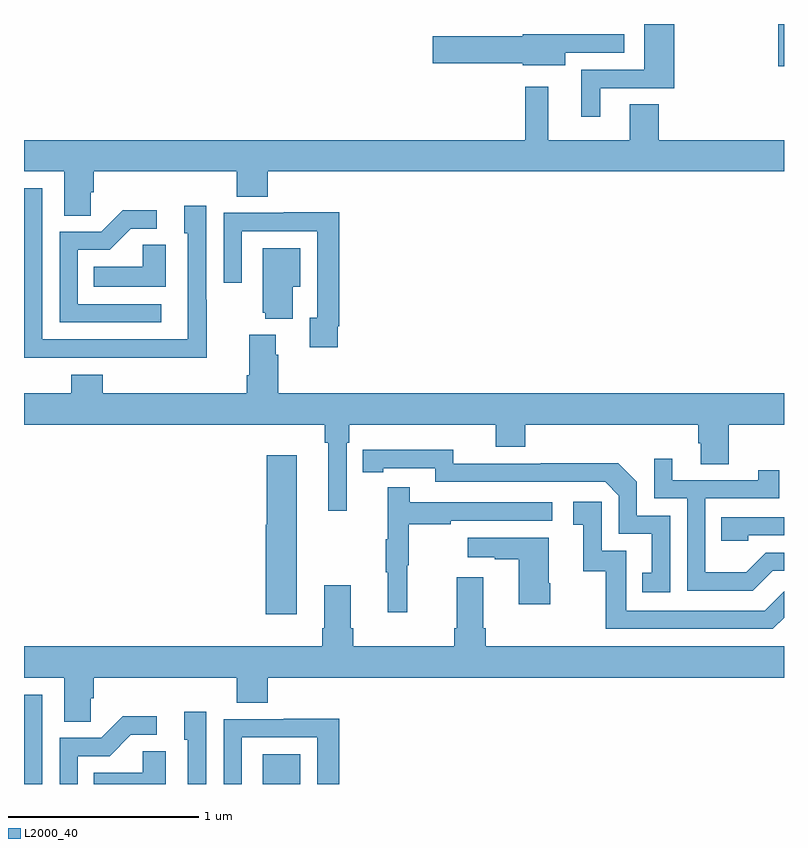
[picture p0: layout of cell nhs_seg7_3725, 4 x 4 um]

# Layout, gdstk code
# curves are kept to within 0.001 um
import gdstk
lib = gdstk.Library(unit=1e-6, precision=1e-09)
def R(c, l, rs):  # rectangles x0, y0, x1, y1
    for r in rs: c.add(gdstk.rectangle(r[:2], r[2:], *l))
def P(c, l, *ps):  # polygons
    for p in ps: c.add(gdstk.Polygon(p, *l))
L2000_40 = (2000, 40)

nhs_seg7_3725 = lib.new_cell('nhs_seg7_3725')
R(nhs_seg7_3725, L2000_40, [(348.257,1056,348.454,1056.157), (350.969,1059.777,351,1060)])
P(nhs_seg7_3725, L2000_40, [(350.032,1059.663),(350.423,1059.663),(350.423,1060),(350.264,1060),(350.264,1059.759),(349.934,1059.759),(349.934,1059.513),(350.032,1059.513)],
  [(349.849,1059.849),(350.158,1059.849),(350.158,1059.945),(349.845,1059.945),(349.845,1059.946),(349.626,1059.946),(349.626,1059.935),(349.152,1059.935),(349.152,1059.793),(349.626,1059.793),(349.626,1059.782),(349.849,1059.782)],
  [(347.352,1059.115),(347.366,1059.115),(347.366,1059.224),(348.119,1059.224),(348.119,1059.091),(348.284,1059.091),(348.284,1059.224),(351,1059.224),(351,1059.388),(350.342,1059.388),(350.342,1059.578),(350.189,1059.578),(350.189,1059.388),(349.759,1059.388),(349.759,1059.67),(349.638,1059.67),(349.638,1059.388),(347,1059.388),(347,1059.224),(347.213,1059.224),(347.213,1058.992),(347.352,1058.992)],
  [(347.961,1058.549),(347.958,1058.549),(347.958,1059.043),(347.843,1059.043),(347.843,1058.898),(347.862,1058.898),(347.862,1058.34),(347.097,1058.34),(347.097,1059.135),(347,1059.135),(347,1059.039),(347.001,1059.039),(347.001,1058.57),(347,1058.57),(347,1058.469),(347.001,1058.469),(347.001,1058.244),(347.497,1058.244),(347.497,1058.243),(347.961,1058.243)],
  [(347.722,1058.526),(347.283,1058.526),(347.283,1058.811),(347.452,1058.811),(347.563,1058.922),(347.698,1058.922),(347.698,1059.02),(347.519,1059.02),(347.406,1058.907),(347.187,1058.907),(347.187,1058.43),(347.722,1058.43)],
  [(348.652,1058.41),(348.659,1058.41),(348.659,1059.008),(348.367,1059.008),(348.367,1059.006),(348.051,1059.006),(348.051,1058.637),(348.147,1058.637),(348.147,1058.91),(348.543,1058.91),(348.543,1058.454),(348.503,1058.454),(348.503,1058.298),(348.652,1058.298)],
  [(347.746,1058.837),(347.625,1058.837),(347.625,1058.722),(347.368,1058.722),(347.368,1058.618),(347.746,1058.618)],
  [(348.415,1058.618),(348.454,1058.618),(348.454,1058.821),(348.257,1058.821),(348.257,1058.481),(348.269,1058.481),(348.269,1058.45),(348.415,1058.45)],
  [(348.699,1057.796),(348.713,1057.796),(348.713,1057.892),(349.484,1057.892),(349.484,1057.775),(349.637,1057.775),(349.637,1057.892),(350.549,1057.892),(350.549,1057.794),(350.561,1057.794),(350.561,1057.684),(350.709,1057.684),(350.709,1057.892),(351,1057.892),(351,1058.056),(348.338,1058.056),(348.338,1058.258),(348.325,1058.258),(348.325,1058.365),(348.185,1058.365),(348.185,1058.152),(348.173,1058.152),(348.173,1058.056),(347.414,1058.056),(347.414,1058.155),(347.249,1058.155),(347.249,1058.056),(347,1058.056),(347,1057.892),(348.583,1057.892),(348.583,1057.796),(348.602,1057.796),(348.602,1057.437),(348.699,1057.437)],
  [(350.4,1057.413),(350.226,1057.413),(350.226,1057.59),(350.128,1057.688),(349.72,1057.688),(349.72,1057.686),(349.26,1057.686),(349.26,1057.759),(348.784,1057.758),(348.784,1057.642),(348.892,1057.642),(348.892,1057.662),(349.164,1057.662),(349.164,1057.59),(350.058,1057.59),(350.13,1057.518),(350.13,1057.317),(350.303,1057.317),(350.303,1057.113),(350.254,1057.113),(350.254,1057.008),(350.4,1057.008)],
  [(348.436,1057.729),(348.278,1057.729),(348.278,1057.365),(348.272,1057.365),(348.272,1056.894),(348.436,1056.894)],
  [(350.941,1057.122),(351,1057.122),(351,1057.218),(350.904,1057.218),(350.8,1057.114),(350.586,1057.114),(350.586,1057.503),(350.975,1057.503),(350.975,1057.651),(350.864,1057.651),(350.864,1057.599),(350.413,1057.599),(350.413,1057.711),(350.316,1057.711),(350.316,1057.503),(350.49,1057.503),(350.49,1057.017),(350.836,1057.017)],
  [(349.016,1057.152),(349.024,1057.152),(349.024,1057.366),(349.247,1057.366),(349.247,1057.386),(349.78,1057.386),(349.78,1057.482),(349.031,1057.482),(349.031,1057.561),(348.914,1057.561),(348.914,1057.289),(348.903,1057.289),(348.903,1057.115),(348.914,1057.115),(348.914,1056.903),(349.016,1056.903)],
  [(351,1056.876),(351,1057.014),(350.898,1056.912),(350.169,1056.912),(350.169,1057.227),(350.04,1057.227),(350.04,1057.486),(349.89,1057.486),(349.89,1057.365),(349.943,1057.365),(349.943,1057.119),(350.061,1057.119),(350.061,1056.816),(350.94,1056.816)],
  [(350.811,1057.308),(351,1057.308),(351,1057.404),(350.671,1057.404),(350.671,1057.281),(350.811,1057.281)],
  [(349.77,1057.057),(349.762,1057.057),(349.762,1057.297),(349.335,1057.297),(349.335,1057.193),(349.478,1057.193),(349.478,1057.183),(349.604,1057.183),(349.604,1056.945),(349.77,1056.945)],
  [(347,1056.56),(347.213,1056.56),(347.213,1056.328),(347.352,1056.328),(347.352,1056.451),(347.366,1056.451),(347.366,1056.56),(348.119,1056.56),(348.119,1056.427),(348.284,1056.427),(348.284,1056.56),(351,1056.56),(351,1056.724),(349.43,1056.724),(349.43,1056.82),(349.417,1056.82),(349.417,1057.087),(349.277,1057.087),(349.277,1056.82),(349.265,1056.82),(349.265,1056.724),(348.734,1056.724),(348.734,1056.82),(348.721,1056.82),(348.721,1057.045),(348.581,1057.045),(348.581,1056.82),(348.569,1056.82),(348.569,1056.724),(347,1056.724)],
  [(347.097,1056.471),(347,1056.471),(347,1056.375),(347.001,1056.375),(347.001,1056),(347.097,1056)],
  [(347.958,1056.379),(347.843,1056.379),(347.843,1056.234),(347.862,1056.234),(347.862,1056),(347.958,1056)],
  [(347.283,1056.147),(347.452,1056.147),(347.563,1056.258),(347.698,1056.258),(347.698,1056.356),(347.519,1056.356),(347.406,1056.243),(347.187,1056.243),(347.187,1056),(347.283,1056)],
  [(348.147,1056.246),(348.543,1056.246),(348.543,1056),(348.659,1056),(348.659,1056.344),(348.367,1056.344),(348.367,1056.342),(348.051,1056.342),(348.051,1056),(348.147,1056)],
  [(347.746,1056.173),(347.625,1056.173),(347.625,1056.058),(347.368,1056.058),(347.368,1056),(347.746,1056)])

lib.write_gds('nhs_seg7_3725.gds')
